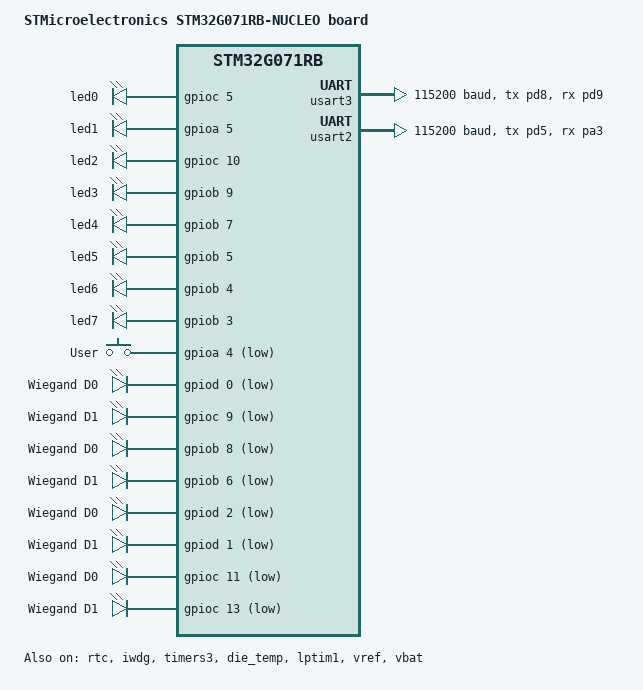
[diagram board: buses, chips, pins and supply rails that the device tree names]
/*
 * Copyright (c) 2019 Philippe Retornaz <philippe@shapescale.com>
 * Copyright (c) 2019 STMicroelectronics
 *
 * SPDX-License-Identifier: Apache-2.0
 */

/dts-v1/;
#include <st/g0/stm32g071Xb.dtsi>
#include <st/g0/stm32g071r(6-8-b)tx-pinctrl.dtsi>
#include <zephyr/dt-bindings/input/input-event-codes.h>
#include <dt-bindings/dma/stm32_dma.h>


/ {
	model = "STMicroelectronics STM32G071RB-NUCLEO board";
	compatible = "st,stm32g071rb-nucleo";

	chosen {
		zephyr,console = &usart2;
		zephyr,shell-uart = &usart2;
		zephyr,sram = &sram0;
		zephyr,flash = &flash0;
		zephyr,usart3 = &usart3;
	};

	leds: leds {
		compatible = "gpio-leds";
		tx_led: led_0 {
			gpios = <&gpioc 5 GPIO_ACTIVE_HIGH>;
			label = "led0";
		};
		cpu_led: led_1 {
			gpios = <&gpioa 5 GPIO_ACTIVE_HIGH>;
			label = "led1";
		};		
		rssi_0_led: led_2 {
			gpios = <&gpioc 10 GPIO_ACTIVE_HIGH>;
			label = "led2";
		};
		rssi_1_led: led_3 {
			gpios = <&gpiob 9 GPIO_ACTIVE_HIGH>;
			label = "led3";
		};
		rssi_2_led: led_4 {
			gpios = <&gpiob 7 GPIO_ACTIVE_HIGH>;
			label = "led4";
		};		
		rssi_3_led: led_5 {
			gpios = <&gpiob 5 GPIO_ACTIVE_HIGH>;
			label = "led5";
		};
		rssi_4_led: led_6 {
			gpios = <&gpiob 4 GPIO_ACTIVE_HIGH>;
			label = "led6";
		};		
		rssi_5_led: led_7 {
			gpios = <&gpiob 3 GPIO_ACTIVE_HIGH>;
			label = "led7";
		};
	};

	gpio_keys {
		compatible = "gpio-keys";

		push_btn: button0 {
			label = "User";
			gpios = <&gpioa 4 GPIO_ACTIVE_LOW>;
			//zephyr,code = <PUSH_BTN>;
		};
	};

	wiegand_pins {
    compatible = "gpio-leds"; // A generic compatible for simple GPIO outputs
    
    wiegand_in_d0: pin_0 {
        gpios = <&gpiod 0 GPIO_ACTIVE_LOW>; // Wiegand is typically active-low
        label = "Wiegand D0";
    };

    wiegand_in_d1: pin_1 {
        gpios = <&gpioc 9 GPIO_ACTIVE_LOW>;
        label = "Wiegand D1";
    };

	rex_in: pin_2 {
        gpios = <&gpiob 8 GPIO_ACTIVE_LOW>; // Wiegand is typically active-low
        label = "Wiegand D0";
    };

    dp_in: pin_3 {
        gpios = <&gpiob 6 GPIO_ACTIVE_LOW>;
        label = "Wiegand D1";
    };

	dout1_ctrl: pin_4 {
        gpios = <&gpiod 2 GPIO_ACTIVE_LOW>; // Wiegand is typically active-low
        label = "Wiegand D0";
    };

    dout2_ctrl: pin_5 {
        gpios = <&gpiod 1 GPIO_ACTIVE_LOW>;
        label = "Wiegand D1";
    };

	relay_1: pin_6 {
        gpios = <&gpioc 11 GPIO_ACTIVE_LOW>; // Wiegand is typically active-low
        label = "Wiegand D0";
    };

    relay_2: pin_7 {
        gpios = <&gpioc 13 GPIO_ACTIVE_LOW>;
        label = "Wiegand D1";
    };
};

	aliases {
		push-btn = &push_btn;
		watchdog0 = &iwdg;
		die-temp0 = &die_temp;
		volt-sensor0 = &vref;
		volt-sensor1 = &vbat;
        wiegand-in-d0 = &wiegand_in_d0;
        wiegand-in-d1 = &wiegand_in_d1;
		tx-led = &tx_led;
		cpu-led = &cpu_led;
		rssi-0-led = &rssi_0_led;
		rssi-1-led = &rssi_1_led;
		rssi-2-led = &rssi_2_led;
		rssi-3-led = &rssi_3_led;
		rssi-4-led = &rssi_4_led;
		rssi-5-led = &rssi_5_led;
		rex-in = &rex_in;
		dp-in = &dp_in;
		dout1-ctrl = &dout1_ctrl;
		dout2-ctrl = &dout2_ctrl;
		relay-1 = &relay_1;
		relay-2 = &relay_2;
    };
};

&clk_lsi {
	status = "okay";
};

&clk_hsi {
	status = "okay";
};

&pll {
	div-m = <1>;
	mul-n = <8>;
	div-p = <2>;
	div-q = <2>;
	div-r = <2>;
	clocks = <&clk_hsi>;
	status = "okay";
};

&rcc {
	clocks = <&pll>;
	clock-frequency = <DT_FREQ_M(64)>;
	ahb-prescaler = <1>;
	apb1-prescaler = <1>;
};

&usart3 {
	pinctrl-0 = <&usart3_tx_pd8 &usart3_rx_pd9>;
	pinctrl-names = "default";
	current-speed = <115200>;
	status = "okay";
    dmas = <&dma1 1 55 STM32_DMA_PERIPH_TX>,
           <&dma1 2 54 STM32_DMA_PERIPH_RX>;
    dma-names = "tx", "rx";
};

&dma1 {
    status = "okay";
};

//&gpioc {
//    #dma-cells = <1>;
//};

&usart2 {
	pinctrl-0 = <&usart2_tx_pd5 &usart2_rx_pa3>;
	pinctrl-names = "default";
	current-speed = <115200>;
	status = "okay";
};


&rtc {
	clocks = <&rcc STM32_CLOCK(APB1, 10)>,
		 <&rcc STM32_SRC_LSI RTC_SEL(2)>;
	status = "okay";

	backup_regs {
		status = "okay";
	};
};

&iwdg {
	status = "okay";
};

&timers3 {
	st,prescaler = <10000>;
	status = "okay";

	// pwm3: pwm {
	// 	status = "okay";
	// 	pinctrl-0 = <&tim3_ch1_pa6>;
	// 	pinctrl-names = "default";
	// };
};
/*
&i2c1 {
	pinctrl-0 = <&i2c1_scl_pb8 &i2c1_sda_pb9>;
	pinctrl-names = "default";
	status = "okay";
	clock-frequency = <I2C_BITRATE_FAST>;
};

&i2c2 {
	pinctrl-0 = <&i2c2_scl_pa11 &i2c2_sda_pa12>;
	pinctrl-names = "default";
	status = "okay";
	clock-frequency = <I2C_BITRATE_FAST>;
};

&spi1 {
	pinctrl-0 = <&spi1_nss_pb0 &spi1_sck_pa5
		     &spi1_miso_pa6 &spi1_mosi_pa7>;
	pinctrl-names = "default";
	status = "okay";
};

&spi2 {
	pinctrl-0 = <&spi2_nss_pb12 &spi2_sck_pb13
		     &spi2_miso_pb14 &spi2_mosi_pb15>;
	pinctrl-names = "default";
	status = "okay";
};

&adc1 {
	clocks = <&rcc STM32_CLOCK(APB1_2, 20)>,
		 <&rcc STM32_SRC_SYSCLK ADC_SEL(0)>;
	pinctrl-0 = <&adc1_in0_pa0 &adc1_in1_pa1>;
	pinctrl-names = "default";
	st,adc-clock-source = "ASYNC";
	st,adc-prescaler = <4>;
	status = "okay";
	vref-mv = <3300>;
};*/

/*&dac1 {
	status = "okay";
	pinctrl-0 = <&dac1_out1_pa4>;
	pinctrl-names = "default";
};*/

&die_temp {
	status = "okay";
};

&flash0 {
	partitions {
		compatible = "fixed-partitions";
		#address-cells = <1>;
		#size-cells = <1>;

		/* Set 4KB of storage at the end of 128KB flash */
		storage_partition: partition@1f000 {
			label = "storage";
			reg = <0x0001f000 DT_SIZE_K(4)>;
		};
	};
};

stm32_lp_tick_source: &lptim1 {
	clocks = <&rcc STM32_CLOCK(APB1, 31)>,
		 <&rcc STM32_SRC_LSI LPTIM1_SEL(1)>;
	status = "okay";
};

&vref {
	status = "okay";
};

&vbat {
	status = "okay";
};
